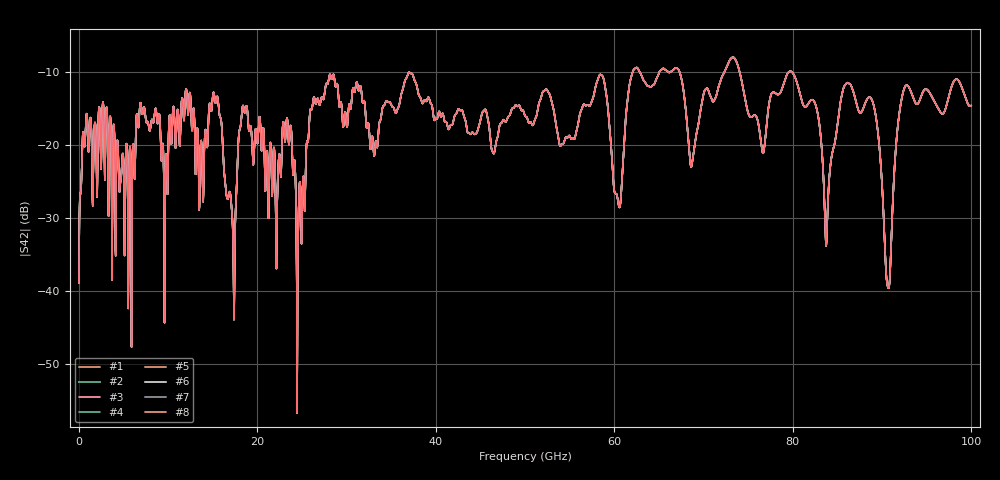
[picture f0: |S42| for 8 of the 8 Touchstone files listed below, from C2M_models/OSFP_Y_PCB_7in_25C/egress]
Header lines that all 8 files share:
# GHz S RI R 45
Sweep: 25 MHz to 100 GHz
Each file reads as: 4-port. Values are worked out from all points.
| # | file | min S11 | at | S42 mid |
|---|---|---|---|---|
| 1 | C2M_Y_OSFP224_7in_host_PCB_25C_FEXT_TP0_Tx1_to_TP1a_Tx7.s4p | -64.2 dB | 23.8 GHz | -16.0 dB at 50.02 GHz |
| 2 | C2M_Y_OSFP224_7in_host_PCB_25C_FEXT_TP0_Tx2_to_TP1a_Tx7.s4p | -49.5 dB | 20.05 GHz | -16.0 dB at 50.02 GHz |
| 3 | C2M_Y_OSFP224_7in_host_PCB_25C_NEXT_TP1a_Rx1_to_TP1a_Tx7.s4p | -45.4 dB | 18.98 GHz | -16.0 dB at 50.02 GHz |
| 4 | C2M_Y_OSFP224_7in_host_PCB_25C_NEXT_TP1a_Rx3_to_TP1a_Tx7.s4p | -47.0 dB | 4.7 GHz | -16.0 dB at 50.02 GHz |
| 5 | C2M_Y_OSFP224_7in_host_PCB_25C_NEXT_TP1a_Rx4_to_TP1a_Tx7.s4p | -50.0 dB | 55 GHz | -16.0 dB at 50.02 GHz |
| 6 | C2M_Y_OSFP224_7in_host_PCB_25C_NEXT_TP1a_Rx5_to_TP1a_Tx7.s4p | -41.2 dB | 57.35 GHz | -16.0 dB at 50.02 GHz |
| 7 | C2M_Y_OSFP224_7in_host_PCB_25C_NEXT_TP1a_Rx7_to_TP1a_Tx7.s4p | -45.1 dB | 4.15 GHz | -16.0 dB at 50.02 GHz |
| 8 | C2M_Y_OSFP224_7in_host_PCB_25C_NEXT_TP1a_Rx8_to_TP1a_Tx7.s4p | -51.9 dB | 54.92 GHz | -16.0 dB at 50.02 GHz |
